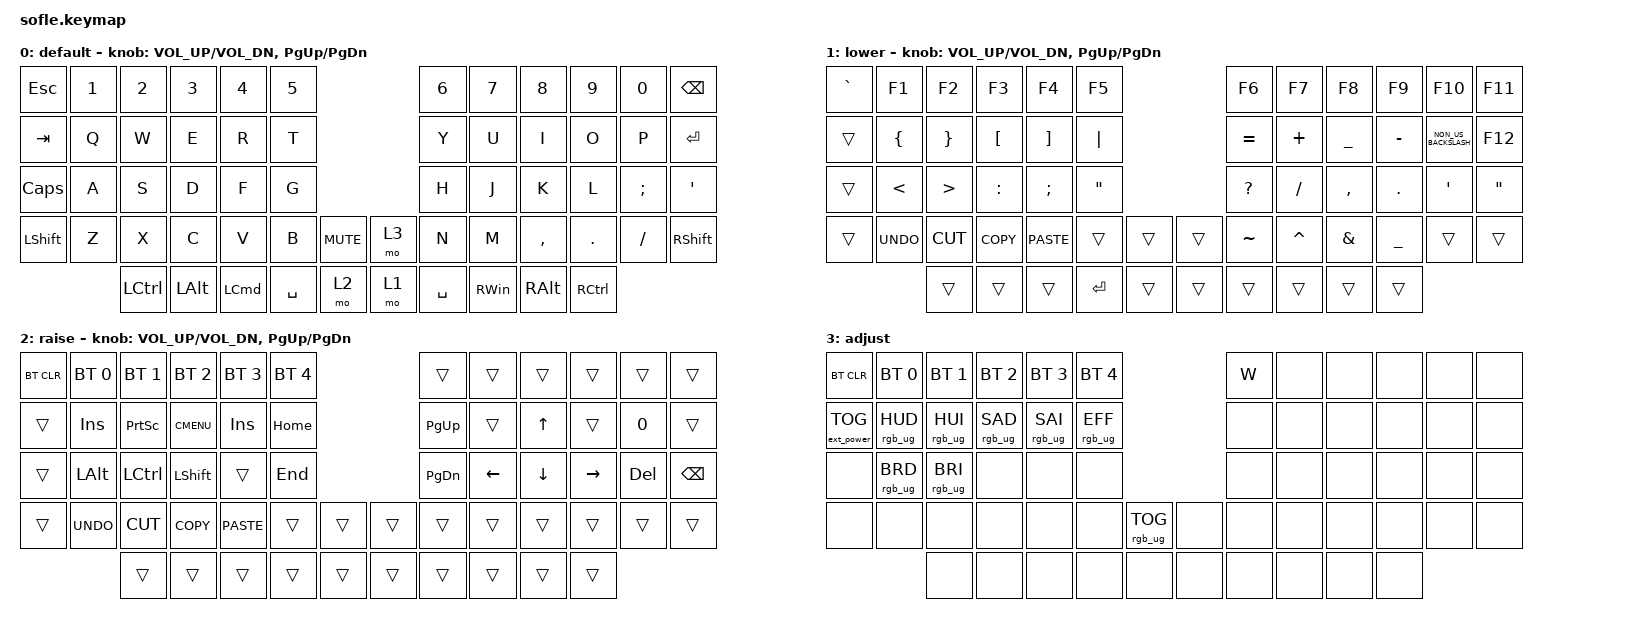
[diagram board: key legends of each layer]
/*
 * Copyright (c) 2020 The ZMK Contributors
 *
 * SPDX-License-Identifier: MIT
 */

#include <behaviors.dtsi>
#include <dt-bindings/zmk/bt.h>
#include <dt-bindings/zmk/ext_power.h>
#include <dt-bindings/zmk/keys.h>
#include <dt-bindings/zmk/rgb.h>

#define BASE 0
#define LOWER 1
#define RAISE 2
#define ADJUST 3

/ {
    // Activate ADJUST layer by pressing raise and lower

    conditional_layers {
        compatible = "zmk,conditional-layers";

        adjust_layer {
            if-layers = <LOWER RAISE>;
            then-layer = <ADJUST>;
        };
    };

    keymap {
        compatible = "zmk,keymap";

        default_layer {
            label = "default";

            // ------------------------------------------------------------------------------------------------------------
            // |   `   |  1  |  2  |  3   |  4   |  5   |                   |  6   |  7    |  8    |  9   |   0   |       |
            // |  ESC  |  Q  |  W  |  E   |  R   |  T   |                   |  Y   |  U    |  I    |  O   |   P   | BKSPC |
            // |  TAB  |  A  |  S  |  D   |  F   |  G   |                   |  H   |  J    |  K    |  L   |   ;   |   '   |
            // | SHIFT |  Z  |  X  |  C   |  V   |  B   |  MUTE  |  |       |  N   |  M    |  ,    |  .   |   /   | SHIFT |
            //               | GUI | ALT  | CTRL | LOWER|  ENTER |  | SPACE | RAISE| CTRL  | ALT   | GUI  |

            bindings = <
&kp ESC    &kp N1  &kp N2            &kp N3    &kp N4            &kp N5                          &kp N6     &kp N7         &kp N8     &kp N9             &kp N0    &kp BACKSPACE
&kp TAB    &kp Q   &kp W             &kp E     &kp R             &kp T                           &kp Y      &kp U          &kp I      &kp O              &kp P     &kp ENTER
&kp CAPS   &kp A   &kp S             &kp D     &kp F             &kp G                           &kp H      &kp J          &kp K      &kp L              &kp SEMI  &kp SINGLE_QUOTE
&kp LSHFT  &kp Z   &kp X             &kp C     &kp V             &kp B      &kp C_MUTE    &mo 3  &kp N      &kp M          &kp COMMA  &kp DOT            &kp FSLH  &kp RSHFT
                   &kp LEFT_CONTROL  &kp LALT  &kp LEFT_COMMAND  &kp SPACE  &mo 2         &mo 1  &kp SPACE  &kp RIGHT_WIN  &kp RALT   &kp RIGHT_CONTROL
            >;

            sensor-bindings = <&inc_dec_kp C_VOL_UP C_VOL_DN &inc_dec_kp PG_UP PG_DN>;
        };

        lower_layer {
            label = "lower";

            // TODO: Some binds are waiting for shifted keycode support.
            // ------------------------------------------------------------------------------------------------------------
            // |       |  F1 |  F2 |  F3  |  F4  |  F5  |                   |  F6  |  F7   |  F8   |  F9  |  F10  |  F11  |
            // |   `   |  1  |  2  |  3   |  4   |  5   |                   |  6   |  7    |  8    |  9   |   0   |  F12  |
            // |       |  !  |  @  |  #   |  $   |  %   |                   |  ^   |  &    |  *    |  (   |   )   |   |   |
            // |       |  =  |  -  |  +   |  {   |  }   |        |  |       |  [   |  ]    |  ;    |  :   |   \   |       |
            //               |     |      |      |      |        |  |       |      |       |       |      |

            bindings = <
&kp GRAVE  &kp F1          &kp F2            &kp F3            &kp F4             &kp F5                               &kp F6        &kp F7     &kp F8          &kp F9          &kp F10               &kp F11
&trans     &kp LEFT_BRACE  &kp RIGHT_BRACE   &kp LEFT_BRACKET  &kp RIGHT_BRACKET  &kp PIPE                             &kp EQUAL     &kp PLUS   &kp UNDERSCORE  &kp MINUS       &kp NON_US_BACKSLASH  &kp F12
&trans     &kp LESS_THAN   &kp GREATER_THAN  &kp COLON         &kp SEMICOLON      &kp DOUBLE_QUOTES                    &kp QUESTION  &kp SLASH  &kp COMMA       &kp PERIOD      &kp SQT               &kp DOUBLE_QUOTES
&trans     &kp K_UNDO      &kp K_CUT         &kp K_COPY        &kp K_PASTE        &trans             &trans    &trans  &kp TILDE     &kp CARET  &kp AMPERSAND   &kp UNDERSCORE  &trans                &trans
                           &trans            &trans            &trans             &kp ENTER          &trans    &trans  &trans        &trans     &trans          &trans
            >;

            sensor-bindings = <&inc_dec_kp C_VOL_UP C_VOL_DN &inc_dec_kp PG_UP PG_DN>;
        };

        raise_layer {
            label = "raise";

            // ------------------------------------------------------------------------------------------------------------
            // | BTCLR | BT1  | BT2  |  BT3  |  BT4  |  BT5 |                |      |      |       |      |       |       |
            // |       | INS  | PSCR | GUI   |       |      |                | PGUP |      |   ^   |      |       |       |
            // |       | ALT  | CTRL | SHIFT |       | CAPS |                | PGDN |   <- |   v   |  ->  |  DEL  | BKSPC |
            // |       | UNDO | CUT  | COPY  | PASTE |      |      |  |      |      |      |       |      |       |       |
            //                |      |       |       |      |      |  |      |      |      |       |      |

            bindings = <
&bt BT_CLR  &bt BT_SEL 0  &bt BT_SEL 1  &bt BT_SEL 2  &bt BT_SEL 3  &bt BT_SEL 4                    &trans     &trans    &trans    &trans     &trans   &trans
&trans      &kp INS       &kp PSCRN     &kp K_CMENU   &kp INS       &kp HOME                        &kp PG_UP  &trans    &kp UP    &trans     &kp N0   &trans
&trans      &kp LALT      &kp LCTRL     &kp LSHFT     &trans        &kp END                         &kp PG_DN  &kp LEFT  &kp DOWN  &kp RIGHT  &kp DEL  &kp BSPC
&trans      &kp K_UNDO    &kp K_CUT     &kp K_COPY    &kp K_PASTE   &trans        &trans    &trans  &trans     &trans    &trans    &trans     &trans   &trans
                          &trans        &trans        &trans        &trans        &trans    &trans  &trans     &trans    &trans    &trans
            >;

            sensor-bindings = <&inc_dec_kp C_VOL_UP C_VOL_DN &inc_dec_kp PG_UP PG_DN>;
        };

        adjust_layer {
            // ----------------------------------------------------------------------------------------------------------------------------
            // | BTCLR  |  BT1    |  BT2    |   BT3   |   BT4   |   BT5   |                  |      |      |       |      |       |       |
            // | EXTPWR | RGB_HUD | RGB_HUI | RGB_SAD | RGB_SAI | RGB_EFF |                  |      |      |       |      |       |       |
            // |        | RGB_BRD | RGB_BRI |         |         |         |                  |      |      |       |      |       |       |
            // |        |         |         |         |         |         | RGB_TOG | |      |      |      |       |      |       |       |
            //                    |         |         |         |         |         | |      |      |      |       |      |

            label = "adjust";
            bindings = <
&bt BT_CLR         &bt BT_SEL 0     &bt BT_SEL 1     &bt BT_SEL 2     &bt BT_SEL 3     &bt BT_SEL 4                               &kp W  &none  &none  &none  &none  &none
&ext_power EP_TOG  &rgb_ug RGB_HUD  &rgb_ug RGB_HUI  &rgb_ug RGB_SAD  &rgb_ug RGB_SAI  &rgb_ug RGB_EFF                            &none  &none  &none  &none  &none  &none
&none              &rgb_ug RGB_BRD  &rgb_ug RGB_BRI  &none            &none            &none                                      &none  &none  &none  &none  &none  &none
&none              &none            &none            &none            &none            &none            &rgb_ug RGB_TOG    &none  &none  &none  &none  &none  &none  &none
                                    &none            &none            &none            &none            &none              &none  &none  &none  &none  &none
            >;
        };
    };
};
